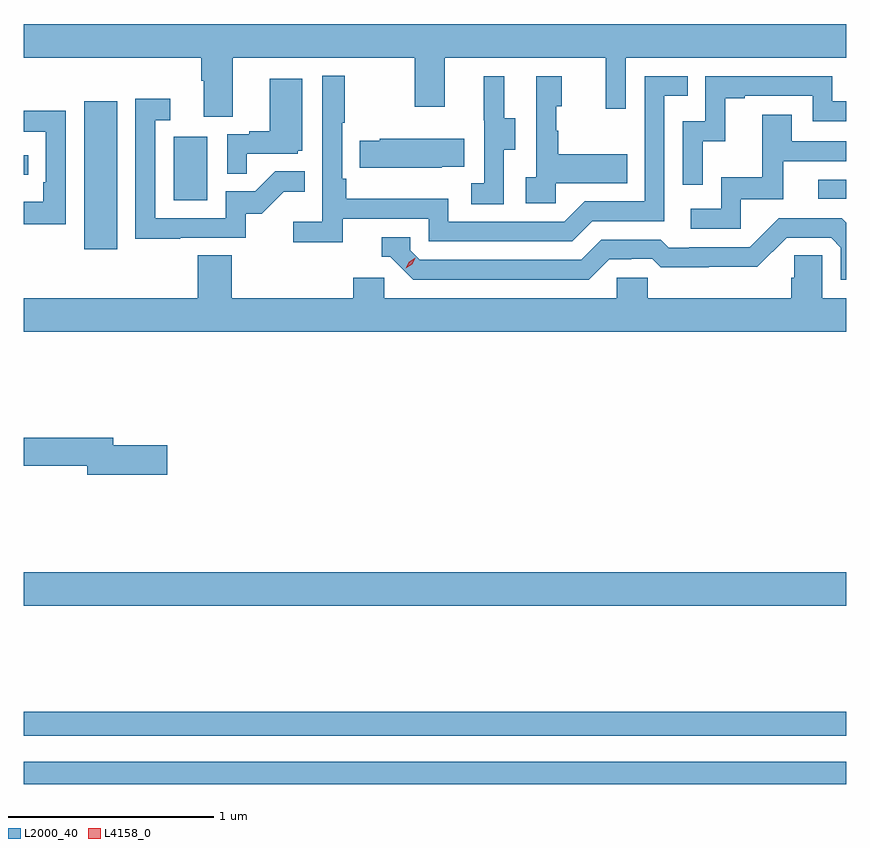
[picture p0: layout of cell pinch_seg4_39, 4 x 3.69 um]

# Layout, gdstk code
import gdstk
lib = gdstk.Library(unit=1e-6, precision=1e-09)
def R(c, l, rs):  # rectangles x0, y0, x1, y1
    for r in rs: c.add(gdstk.rectangle(r[:2], r[2:], *l))
def P(c, l, *ps):  # polygons
    for p in ps: c.add(gdstk.Polygon(p, *l))
L2000_40 = (2000, 40)
L4158_0 = (4158, 0)

pinch_seg4_39 = lib.new_cell('pinch_seg4_39')
R(pinch_seg4_39, L2000_40, [(1114.751,815.934,1118.751,816.042), (1114.751,816.168,1118.751,816.284), (1114.751,816.8,1118.751,816.964), (1115.045,818.532,1115.206,819.253), (1115.48,818.772,1115.644,819.079), (1118.613,818.778,1118.751,818.871), (1114.751,818.895,1114.774,818.991)])
P(pinch_seg4_39, L2000_40, [(1115.767,819.464),(1116.652,819.464),(1116.652,819.225),(1116.799,819.225),(1116.799,819.464),(1117.58,819.464),(1117.58,819.216),(1117.677,819.216),(1117.677,819.464),(1118.751,819.464),(1118.751,819.628),(1114.751,819.628),(1114.751,819.464),(1115.615,819.464),(1115.615,819.352),(1115.627,819.352),(1115.627,819.178),(1115.767,819.178)],
  [(1116.302,818.682),(1116.72,818.682),(1116.72,818.571),(1117.417,818.571),(1117.516,818.67),(1117.866,818.67),(1117.866,819.279),(1117.979,819.279),(1117.979,819.375),(1117.77,819.375),(1117.77,818.766),(1117.479,818.766),(1117.38,818.667),(1116.816,818.667),(1116.816,818.779),(1116.32,818.779),(1116.32,818.875),(1116.3,818.875),(1116.3,819.148),(1116.313,819.148),(1116.313,819.376),(1116.204,819.376),(1116.204,818.668),(1116.063,818.668),(1116.063,818.566),(1116.302,818.566)],
  [(1118.052,819.059),(1118.162,819.059),(1118.162,819.267),(1118.257,819.267),(1118.257,819.279),(1118.586,819.279),(1118.586,819.156),(1118.751,819.156),(1118.751,819.252),(1118.682,819.252),(1118.682,819.375),(1118.064,819.375),(1118.064,819.156),(1117.956,819.156),(1117.956,818.847),(1118.052,818.847)],
  [(1117.086,819.016),(1117.141,819.016),(1117.141,819.171),(1117.087,819.171),(1117.087,819.373),(1116.989,819.373),(1116.989,819.159),(1116.99,819.159),(1116.99,818.855),(1116.927,818.855),(1116.927,818.752),(1117.086,818.752)],
  [(1117.338,818.855),(1117.685,818.855),(1117.685,818.995),(1117.351,818.995),(1117.351,819.11),(1117.341,819.11),(1117.341,819.228),(1117.366,819.228),(1117.366,819.373),(1117.242,819.373),(1117.242,818.882),(1117.191,818.882),(1117.191,818.757),(1117.338,818.757)],
  [(1115.837,818.997),(1116.084,818.997),(1116.084,819.012),(1116.106,819.012),(1116.106,819.361),(1115.948,819.361),(1115.948,819.106),(1115.849,819.106),(1115.849,819.093),(1115.742,819.093),(1115.742,818.899),(1115.837,818.899)],
  [(1115.513,818.589),(1115.832,818.589),(1115.832,818.706),(1115.908,818.706),(1116.015,818.813),(1116.119,818.813),(1116.119,818.912),(1115.975,818.912),(1115.877,818.814),(1115.733,818.814),(1115.733,818.685),(1115.391,818.685),(1115.391,819.159),(1115.464,819.159),(1115.464,819.265),(1115.295,819.265),(1115.295,818.584),(1115.513,818.584)],
  [(1114.956,819.206),(1114.751,819.206),(1114.751,819.105),(1114.86,819.105),(1114.86,818.86),(1114.847,818.86),(1114.847,818.764),(1114.751,818.764),(1114.751,818.655),(1114.956,818.655)],
  [(1118.238,818.775),(1118.443,818.775),(1118.443,818.961),(1118.751,818.961),(1118.751,819.057),(1118.485,819.057),(1118.485,819.187),(1118.341,819.187),(1118.341,818.884),(1118.142,818.884),(1118.142,818.73),(1117.995,818.73),(1117.995,818.634),(1118.238,818.634)],
  [(1116.785,818.933),(1116.893,818.933),(1116.893,819.07),(1116.483,819.07),(1116.483,819.06),(1116.385,819.06),(1116.385,818.93),(1116.785,818.93)],
  [(1117.597,818.484),(1117.704,818.484),(1117.704,818.487),(1117.807,818.487),(1117.849,818.445),(1118.082,818.445),(1118.082,818.447),(1118.318,818.447),(1118.46,818.589),(1118.676,818.589),(1118.724,818.541),(1118.724,818.385),(1118.751,818.385),(1118.751,818.661),(1118.727,818.685),(1118.421,818.685),(1118.28,818.544),(1117.987,818.544),(1117.987,818.541),(1117.888,818.541),(1117.849,818.58),(1117.56,818.58),(1117.461,818.481),(1116.678,818.481),(1116.63,818.529),(1116.63,818.592),(1116.491,818.592),(1116.491,818.496),(1116.534,818.496),(1116.645,818.385),(1117.498,818.385)],
  [(1118.751,818.296),(1118.634,818.296),(1118.634,818.504),(1118.497,818.504),(1118.497,818.394),(1118.483,818.394),(1118.483,818.296),(1117.785,818.296),(1117.785,818.394),(1117.635,818.394),(1117.635,818.296),(1116.504,818.296),(1116.504,818.394),(1116.353,818.394),(1116.353,818.296),(1115.762,818.296),(1115.762,818.504),(1115.597,818.504),(1115.597,818.296),(1114.751,818.296),(1114.751,818.132),(1118.751,818.132)],
  [(1115.449,817.58),(1115.188,817.58),(1115.188,817.616),(1114.751,817.616),(1114.751,817.48),(1115.06,817.48),(1115.06,817.438),(1115.449,817.438)])
P(pinch_seg4_39, L4158_0, [(1116.61,818.44),(1116.61,818.44),(1116.626,818.473),(1116.656,818.493),(1116.656,818.493),(1116.656,818.493),(1116.641,818.46),(1116.61,818.44)])

lib.write_gds('pinch_seg4_39.gds')
